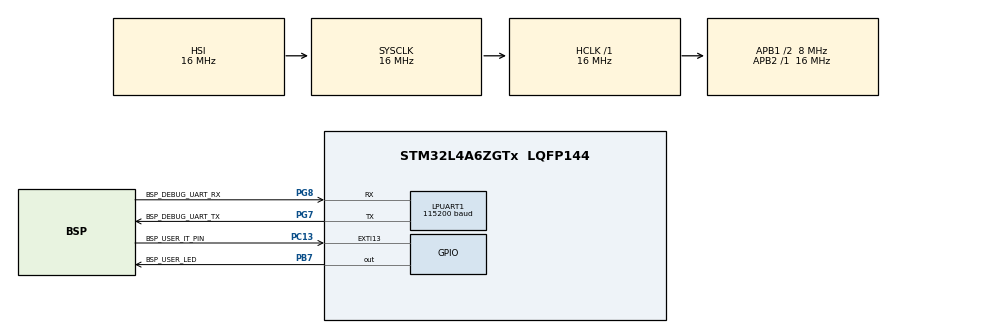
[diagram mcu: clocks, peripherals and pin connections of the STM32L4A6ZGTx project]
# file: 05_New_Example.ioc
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LPUART1.BaudRate=115200
LPUART1.WordLength=UART_WORDLENGTH_8B
Mcu.Family=STM32L4
Mcu.Name=STM32L4A6ZGTx
Mcu.Package=LQFP144
NVIC.EXTI15_10_IRQn=true\:0\:0\:false\:false\:true\:true\:true\:true
NVIC.PriorityGroup=NVIC_PRIORITYGROUP_4
NVIC.RTC_WKUP_IRQn=true\:0\:0\:false\:false\:true\:true\:true\:true
PB7.GPIO_Label=BSP_USER_LED
PB7.Signal=GPIO_Output
PC13.GPIO_Label=BSP_USER_IT_PIN
PC13.GPIO_ModeDefaultEXTI=GPIO_MODE_IT_RISING
PC13.Signal=GPXTI13
PG7.GPIO_Label=BSP_DEBUG_UART_TX
PG7.Mode=Asynchronous
PG7.Signal=LPUART1_TX
PG8.GPIO_Label=BSP_DEBUG_UART_RX
PG8.Mode=Asynchronous
PG8.Signal=LPUART1_RX
ProjectManager.HeapSize=0x200
ProjectManager.StackSize=0x400
ProjectManager.TargetToolchain=STM32CubeIDE
RCC.AHBFreq_Value=16000000
RCC.APB1CLKDivider=RCC_HCLK_DIV2
RCC.APB1Freq_Value=8000000
RCC.APB1TimFreq_Value=16000000
RCC.APB2Freq_Value=16000000
RCC.APB2TimFreq_Value=16000000
RCC.CortexFreq_Value=16000000
RCC.HCLKFreq_Value=16000000
RCC.HSE_VALUE=8000000
RCC.HSI48_VALUE=48000000
RCC.HSI_VALUE=16000000
RCC.LSE_VALUE=32768
RCC.MSI_VALUE=4000000
RCC.SYSCLKFreq_VALUE=16000000
RCC.SYSCLKSource=RCC_SYSCLKSOURCE_HSI
RCC.VCOOutputFreq_Value=32000000
VP_RTC_VS_RTC_Activate.Mode=RTC_Enabled
VP_RTC_VS_RTC_WakeUp_intern.Mode=WakeUp
board=NUCLEO-L4A6ZG

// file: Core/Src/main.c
/* USER CODE BEGIN Header */
/**
  ******************************************************************************
  * @file           : main.c
  * @brief          : Main program body
  ******************************************************************************
  * @attention
  *
  * Copyright (c) 2024 STMicroelectronics.
  * All rights reserved.
  *
  * This software is licensed under terms that can be found in the LICENSE file
  * in the root directory of this software component.
  * If no LICENSE file comes with this software, it is provided AS-IS.
  *
  ******************************************************************************
  */
/* USER CODE END Header */
#include "main.h"

/* USER CODE BEGIN Includes */
#include "stdio.h"
/* USER CODE END Includes */

UART_HandleTypeDef hlpuart1;

RTC_HandleTypeDef hrtc;

/* USER CODE BEGIN PV */
volatile uint8_t StandbyMode = 0;
/* USER CODE END PV */

void SystemClock_Config(void);
static void MX_GPIO_Init(void);
static void MX_LPUART1_UART_Init(void);
static void MX_RTC_Init(void);

/* USER CODE BEGIN 0 */

// Function to disable and reset the RTC wake-up timer
void Reset_RTC_WakeUpTimer(void)
{
    // Disable the Wake-Up timer
    HAL_RTCEx_DeactivateWakeUpTimer(&hrtc);

    // Clear the Wake-Up timer flag and reset the counter
    __HAL_RTC_WAKEUPTIMER_CLEAR_FLAG(&hrtc, RTC_FLAG_WUTF);

    // Optionally, reconfigure the Wake-Up timer
    // Example: Set a new wake-up interval
    HAL_RTCEx_SetWakeUpTimer_IT(&hrtc, 0x4E20, RTC_WAKEUPCLOCK_RTCCLK_DIV16);
}

void HAL_GPIO_EXTI_Callback(uint16_t GPIO_Pin)
{
	/* if external interrupt occurs for first time
	 * check whether is the standby flag is set or not
	 * if set -> controller is in stop mode
	 * wakes up the controller, switch on the led
	 * set rtc wake up timer for 10 seconds
	 * reset the standby flag
	 *
	 * if external interrupt occurs when controller is in run mode
	 * print refresh message
	 * reset the rtc
	 * if no interrupt occurs in 10 seconds the controller again goes into stop mode */
	if(GPIO_Pin == BSP_USER_IT_PIN_Pin)
	{
		if(StandbyMode == 1)
		{
			SystemClock_Config();
			HAL_ResumeTick();
			printf("Woke up from STOP MODE by EXTI\r\n");
			HAL_GPIO_WritePin(BSP_USER_LED_GPIO_Port, BSP_USER_LED_Pin, GPIO_PIN_SET);
			HAL_RTCEx_SetWakeUpTimer_IT(&hrtc, 0x4E20, RTC_WAKEUPCLOCK_RTCCLK_DIV16);
			StandbyMode = 0;
		}
		else
		{
			printf("Refresh\r\n");
			Reset_RTC_WakeUpTimer();
		}
	}
}

void HAL_RTCEx_WakeUpTimerEventCallback(RTC_HandleTypeDef *hrtc)
{
	/* after rtc interrupt switch off the led
	 * set the standby flag */
	HAL_GPIO_WritePin(BSP_USER_LED_GPIO_Port, BSP_USER_LED_Pin, GPIO_PIN_RESET);

	StandbyMode = 1;
}

/* USER CODE END 0 */

int main(void)
{

  /* MCU Configuration--------------------------------------------------------*/

  /* Reset of all peripherals, Initializes the Flash interface and the Systick. */
  HAL_Init();

  /* Configure the system clock */
  SystemClock_Config();

  /* Initialize all configured peripherals */
  MX_GPIO_Init();
  MX_LPUART1_UART_Init();
  MX_RTC_Init();
  /* USER CODE BEGIN 2 */

  /* print the message for entering into the stop mode
   * switch on the led
   * set the rtc wake up timer to 10 seconds for interrupt */
  printf("Going into the STOP MODE after 10 seconds\r\n");
  HAL_GPIO_WritePin(BSP_USER_LED_GPIO_Port, BSP_USER_LED_Pin, GPIO_PIN_SET);
  /*** RTC wake up timer ***/

  /*## Configure the Wake up timer ###########################################*/
  /*  RTC Wake-up Interrupt Generation:
      Wake-up Time Base = (RTC_WAKEUPCLOCK_RTCCLK_DIV /(LSI))
      ==> WakeUpCounter = Wake-up Time / Wake-up Time Base

      To configure the wake up timer to 20s the WakeUpCounter is set to 0xA017:
      for 10s ==> WakeUpCounter = 0x4E20
      for 5s  ==> WakeUpCounter = 0x2710
        RTC_WAKEUPCLOCK_RTCCLK_DIV = RTCCLK_Div16 = 16
        Wake-up Time Base = 16 /(32KHz) = 0.0005 seconds
        ==> WakeUpCounter = ~20s/0.0005s = 40000 = 0xA017
        ==> WakeUpCounter = ~10s/0.0005s = 20000 = 0x4E20
        ==> WakeUpCounter = ~5s/0.0005s = 10000 = 0x2710 */

  if (HAL_RTCEx_SetWakeUpTimer_IT(&hrtc, 0x4E20, RTC_WAKEUPCLOCK_RTCCLK_DIV16) != HAL_OK)
  {
    Error_Handler();
  }

  /* USER CODE END 2 */

  /* Infinite loop */
  while (1)
  {

    /* USER CODE BEGIN 3 */

	  /* Enter the STOP MODE after rtc interrupt(10 Seconds)
	   * check whether standby flag is set or not
	   * Suspend the timer ticks
	   * print stop mode message
	   * deactivate the rtc wake up timer
	   * Enter into the stop mode */
	  if(StandbyMode == 1)
	  {
		  HAL_SuspendTick();
		  printf("STOP MODE has been started\r\n");
		  HAL_RTCEx_DeactivateWakeUpTimer(&hrtc);
		  HAL_PWREx_EnterSTOP2Mode(PWR_STOPENTRY_WFI);
	  }

  }
  /* USER CODE END 3 */
}

void SystemClock_Config(void)
{
  RCC_OscInitTypeDef RCC_OscInitStruct = {0};
  RCC_ClkInitTypeDef RCC_ClkInitStruct = {0};

  /** Configure the main internal regulator output voltage
  */
  if (HAL_PWREx_ControlVoltageScaling(PWR_REGULATOR_VOLTAGE_SCALE1) != HAL_OK)
  {
    Error_Handler();
  }

  /** Initializes the RCC Oscillators according to the specified parameters
  * in the RCC_OscInitTypeDef structure.
  */
  RCC_OscInitStruct.OscillatorType = RCC_OSCILLATORTYPE_HSI|RCC_OSCILLATORTYPE_LSI;
  RCC_OscInitStruct.HSIState = RCC_HSI_ON;
  RCC_OscInitStruct.HSICalibrationValue = RCC_HSICALIBRATION_DEFAULT;
  RCC_OscInitStruct.LSIState = RCC_LSI_ON;
  RCC_OscInitStruct.PLL.PLLState = RCC_PLL_NONE;
  if (HAL_RCC_OscConfig(&RCC_OscInitStruct) != HAL_OK)
  {
    Error_Handler();
  }

  /** Initializes the CPU, AHB and APB buses clocks
  */
  RCC_ClkInitStruct.ClockType = RCC_CLOCKTYPE_HCLK|RCC_CLOCKTYPE_SYSCLK
                              |RCC_CLOCKTYPE_PCLK1|RCC_CLOCKTYPE_PCLK2;
  RCC_ClkInitStruct.SYSCLKSource = RCC_SYSCLKSOURCE_HSI;
  RCC_ClkInitStruct.AHBCLKDivider = RCC_SYSCLK_DIV1;
  RCC_ClkInitStruct.APB1CLKDivider = RCC_HCLK_DIV2;
  RCC_ClkInitStruct.APB2CLKDivider = RCC_HCLK_DIV1;

  if (HAL_RCC_ClockConfig(&RCC_ClkInitStruct, FLASH_LATENCY_0) != HAL_OK)
  {
    Error_Handler();
  }
}

static void MX_LPUART1_UART_Init(void)
{

  hlpuart1.Instance = LPUART1;
  hlpuart1.Init.BaudRate = 115200;
  hlpuart1.Init.WordLength = UART_WORDLENGTH_8B;
  hlpuart1.Init.StopBits = UART_STOPBITS_1;
  hlpuart1.Init.Parity = UART_PARITY_NONE;
  hlpuart1.Init.Mode = UART_MODE_TX_RX;
  hlpuart1.Init.HwFlowCtl = UART_HWCONTROL_NONE;
  hlpuart1.Init.OneBitSampling = UART_ONE_BIT_SAMPLE_DISABLE;
  hlpuart1.AdvancedInit.AdvFeatureInit = UART_ADVFEATURE_NO_INIT;
  if (HAL_UART_Init(&hlpuart1) != HAL_OK)
  {
    Error_Handler();
  }

}

static void MX_RTC_Init(void)
{

  /** Initialize RTC Only
  */
  hrtc.Instance = RTC;
  hrtc.Init.HourFormat = RTC_HOURFORMAT_24;
  hrtc.Init.AsynchPrediv = 127;
  hrtc.Init.SynchPrediv = 255;
  hrtc.Init.OutPut = RTC_OUTPUT_DISABLE;
  hrtc.Init.OutPutRemap = RTC_OUTPUT_REMAP_NONE;
  hrtc.Init.OutPutPolarity = RTC_OUTPUT_POLARITY_HIGH;
  hrtc.Init.OutPutType = RTC_OUTPUT_TYPE_OPENDRAIN;
  if (HAL_RTC_Init(&hrtc) != HAL_OK)
  {
    Error_Handler();
  }

  /** Enable the WakeUp
  */
//  if (HAL_RTCEx_SetWakeUpTimer_IT(&hrtc, 0, RTC_WAKEUPCLOCK_RTCCLK_DIV16) != HAL_OK)
//  {
//    Error_Handler();
//  }

}

static void MX_GPIO_Init(void)
{
  GPIO_InitTypeDef GPIO_InitStruct = {0};

  /* GPIO Ports Clock Enable */
  __HAL_RCC_GPIOC_CLK_ENABLE();
  __HAL_RCC_GPIOG_CLK_ENABLE();
  HAL_PWREx_EnableVddIO2();
  __HAL_RCC_GPIOB_CLK_ENABLE();

  /*Configure GPIO pin Output Level */
  HAL_GPIO_WritePin(BSP_USER_LED_GPIO_Port, BSP_USER_LED_Pin, GPIO_PIN_RESET);

  /*Configure GPIO pin : BSP_USER_IT_PIN_Pin */
  GPIO_InitStruct.Pin = BSP_USER_IT_PIN_Pin;
  GPIO_InitStruct.Mode = GPIO_MODE_IT_RISING;
  GPIO_InitStruct.Pull = GPIO_NOPULL;
  HAL_GPIO_Init(BSP_USER_IT_PIN_GPIO_Port, &GPIO_InitStruct);

  /*Configure GPIO pin : BSP_USER_LED_Pin */
  GPIO_InitStruct.Pin = BSP_USER_LED_Pin;
  GPIO_InitStruct.Mode = GPIO_MODE_OUTPUT_PP;
  GPIO_InitStruct.Pull = GPIO_NOPULL;
  GPIO_InitStruct.Speed = GPIO_SPEED_FREQ_LOW;
  HAL_GPIO_Init(BSP_USER_LED_GPIO_Port, &GPIO_InitStruct);

  /* EXTI interrupt init*/
  HAL_NVIC_SetPriority(EXTI15_10_IRQn, 0, 0);
  HAL_NVIC_EnableIRQ(EXTI15_10_IRQn);

}

void Error_Handler(void)
{
  __disable_irq();
  while (1)
  {
  }
}
